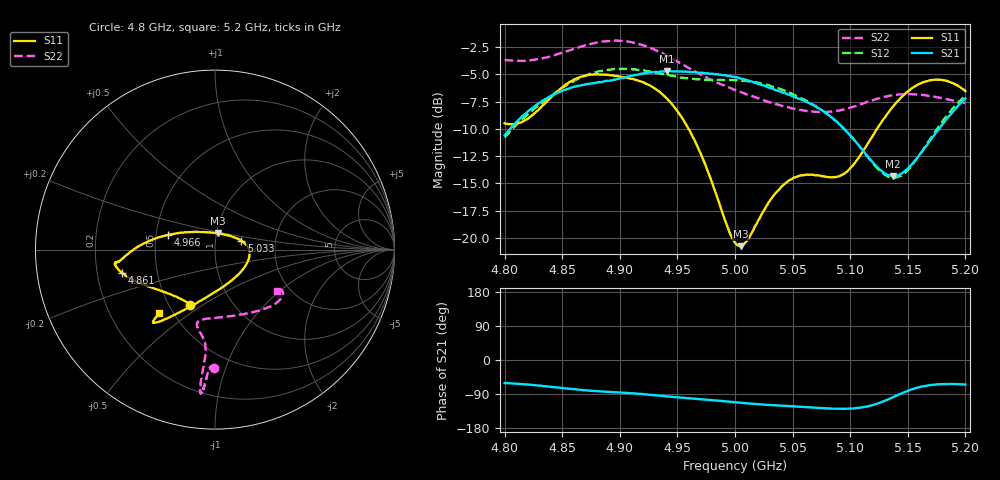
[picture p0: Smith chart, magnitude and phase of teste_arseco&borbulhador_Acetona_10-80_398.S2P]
! Network Analyzer HP8722D
! Hewlett-Packard
! Data name: Linha & Wilkinson
! Saver's name: Rodrigo Anjos
! Comments: Teste da utilização de aquisição
! continua pelo VNA HP8722D
! Time and date: 17/4/2025 17:40
!  Frequency  S11  S21  S12  S22
# HZ  S  MA R 50
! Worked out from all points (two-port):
!   401 points, 4.8 GHz to 5.2 GHz, reference 50 ohm
!   highest |S21| = -4.68 dB at 4.941 GHz (marker M1); lowest = -14.3 dB at 5.137 GHz (marker M2)
!   |S21| within 3 dB of the highest: 4.829 GHz to 5.065 GHz (236.3 MHz wide, 4.78 % of centre); 5.195275 GHz to end of sweep
!   lowest |S11| = -20.8 dB at 5.005 GHz (marker M3), VSWR 1.20, Z = 50.7 + j9.24 ohm
!   |S11| at or under -10 dB: 4.96 GHz to 5.123 GHz (163.4 MHz wide, 3.24 % of centre)
!   |S22| runs from -8.5 to -1.9 dB; largest |S21 - S12| = 0.88
!   S11 on the Smith chart (normalised r, x): 4.8 GHz: 0.64, -0.44; 4.861 GHz: 0.31, -0.11; 4.966 GHz: 0.58, +0.10; 5.033 GHz: 1.34, +0.14; 5.2 GHz: 0.42, -0.39
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4.8e9  0.3362 -114.2  0.2957 -61.0  0.2891 -175.2  0.6572 -90.4
4.819e9  0.3498 -134.1  0.3756 -64.5  0.3644 -174.0  0.6522 -91.9
4.861e9  0.5356 -166.0  0.4941 -77.3  0.5288 -177.3  0.7389 -94.2
4.867e9  0.55 -168.4  0.5025 -79.2  0.5464 -178.6  0.7565 -94.3
4.898e9  0.5521 -172.8  0.5369 -85.3  0.594 175.3  0.8031 -95.6
4.934e9  0.4705 -178.6  0.5774 -94.1  0.5698 171.4  0.7155 -96.1
4.941e9  0.4354 178.3  0.5831 -95.9  0.5605 171.4  0.6855 -95.8
4.966e9  0.2726 162.5  0.5752 -102.4  0.5338 173.4  0.5771 -95.3
5e9  0.09525 98.7  0.5466 -111.3  0.5294 175.8  0.4782 -99.2
5.005e9  0.09167 80.2  0.5379 -112.9  0.5283 175.6  0.4665 -100.6
5.012e9  0.09983 56.7  0.5255 -114.6  0.5217 175.5  0.4526 -101.9
5.033e9  0.1554 18.7  0.4832 -119.2  0.4939 174.4  0.4147 -103.4
5.049e9  0.1854 2.5  0.4487 -121.9  0.4594 173.8  0.3933 -99.6
5.067e9  0.195 -16.7  0.4089 -125.2  0.4113 173.5  0.3804 -90.2
5.096e9  0.1996 -67.3  0.3112 -128.6  0.3108 174.5  0.3907 -67.6
5.123e9  0.3153 -109.0  0.2121 -115.6  0.2107 -170.1  0.4347 -48.5
5.134e9  0.3817 -117.6  0.1934 -102.5  0.1899 -155.6  0.4488 -43.0
5.137e9  0.3999 -119.4  0.1919 -98.4  0.1888 -150.7  0.4522 -41.7
5.15e9  0.4697 -125.1  0.2084 -81.2  0.2051 -131.0  0.4571 -36.9
5.17e9  0.5296 -129.6  0.2823 -66.0  0.2876 -112.3  0.4475 -32.2
5.184e9  0.525 -130.8  0.3533 -63.3  0.3653 -107.5  0.4333 -31.3
5.2e9  0.4718 -131.1  0.4366 -64.8  0.4487 -106.9  0.4155 -33.7
